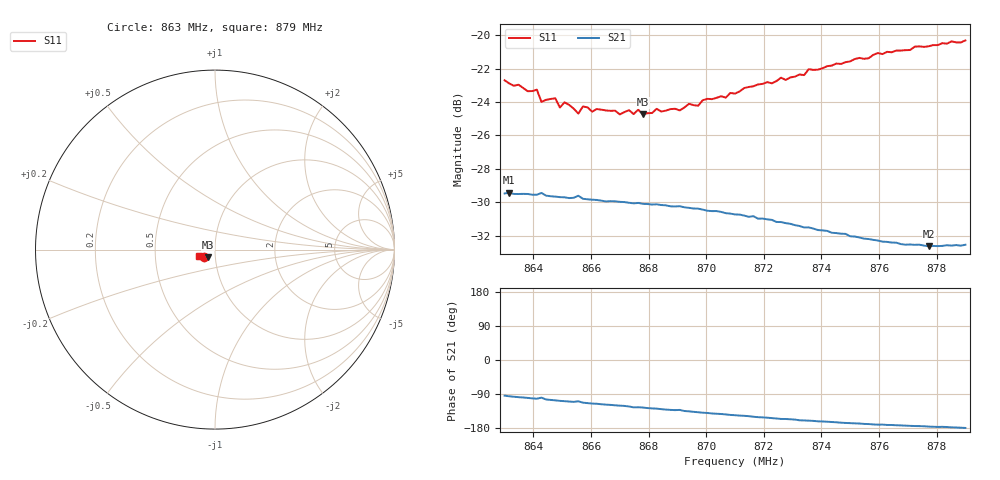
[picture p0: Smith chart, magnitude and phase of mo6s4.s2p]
# HZ S RI R 50
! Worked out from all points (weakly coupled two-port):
!   101 points, 863 MHz to 879 MHz, reference 50 ohm
!   highest |S21| = -29.43 dB at 863.16 MHz (marker M1); lowest = -32.6 dB at 877.72 MHz (marker M2)
!   lowest |S11| = -24.7 dB at 867.8 MHz (marker M3), VSWR 1.12, Z = 45.9 - j3.81 ohm
!   |S11| at or under -10 dB: start of sweep to end of sweep
!   S12 and S22 are empty: the file has one direction only
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8.63e8  -0.0603 -0.0417  -0.00233 -0.0335  0 0  0 0
8.6316e8  -0.0587 -0.0413  -0.00339 -0.0336  0 0  0 0
8.638e8  -0.0546 -0.0405  -0.00579 -0.033  0 0  0 0
8.6412e8  -0.0561 -0.0397  -0.007 -0.0326  0 0  0 0
8.6428e8  -0.0481 -0.0409  -0.00548 -0.0333  0 0  0 0
8.6476e8  -0.0518 -0.0389  -0.00933 -0.0315  0 0  0 0
8.6492e8  -0.047 -0.0385  -0.01 -0.0312  0 0  0 0
8.6508e8  -0.05 -0.0383  -0.0105 -0.031  0 0  0 0
8.6556e8  -0.0433 -0.039  -0.0107 -0.0313  0 0  0 0
8.6572e8  -0.046 -0.0403  -0.0124 -0.0299  0 0  0 0
8.67e8  -0.0418 -0.0402  -0.0161 -0.0273  0 0  0 0
8.6764e8  -0.0416 -0.043  -0.0179 -0.0259  0 0  0 0
8.678e8  -0.0406 -0.0414  -0.0181 -0.0255  0 0  0 0
8.6828e8  -0.0406 -0.0445  -0.0194 -0.0244  0 0  0 0
8.6844e8  -0.04 -0.0435  -0.0198 -0.0239  0 0  0 0
8.6908e8  -0.0401 -0.044  -0.0205 -0.023  0 0  0 0
8.694e8  -0.0405 -0.0474  -0.0217 -0.0213  0 0  0 0
8.71e8  -0.0425 -0.0517  -0.024 -0.0164  0 0  0 0
8.7372e8  -0.0552 -0.0562  -0.0249 -0.00873  0 0  0 0
8.7644e8  -0.0744 -0.0488  -0.0237 -0.00354  0 0  0 0
8.7772e8  -0.0821 -0.0429  -0.0233 -0.00176  0 0  0 0
8.79e8  -0.09 -0.0348  -0.0236 -0.000296  0 0  0 0
